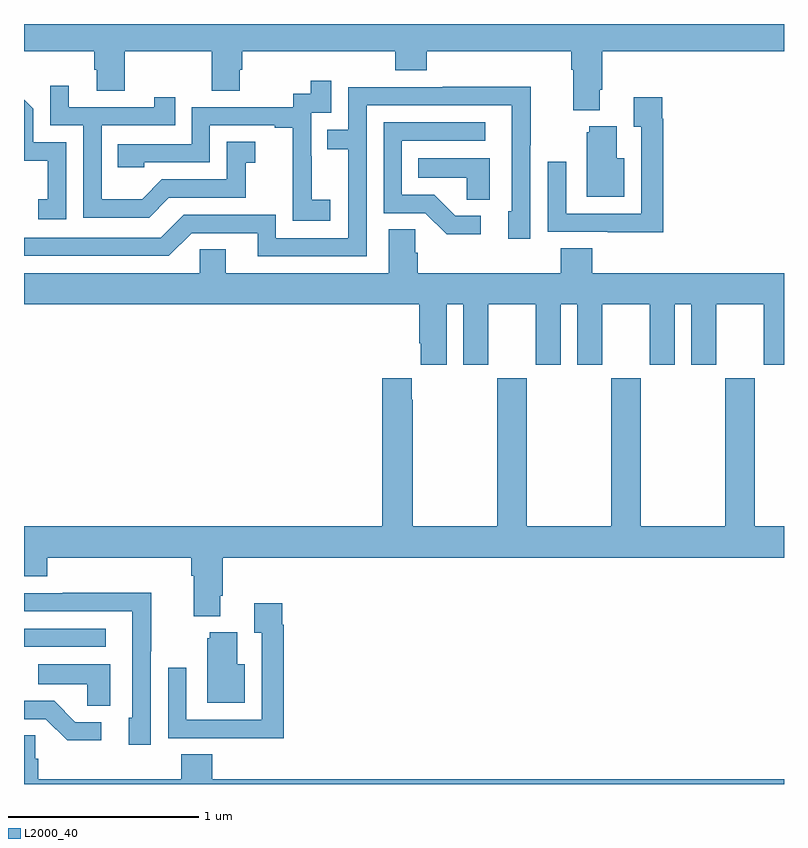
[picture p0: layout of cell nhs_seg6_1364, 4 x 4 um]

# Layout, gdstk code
import gdstk
lib = gdstk.Library(unit=1e-6, precision=1e-09)
def R(c, l, rs):  # rectangles x0, y0, x1, y1
    for r in rs: c.add(gdstk.rectangle(r[:2], r[2:], *l))
def P(c, l, *ps):  # polygons
    for p in ps: c.add(gdstk.Polygon(p, *l))
L2000_40 = (2000, 40)

nhs_seg6_1364 = lib.new_cell('nhs_seg6_1364')
R(nhs_seg6_1364, L2000_40, [(195,924.222,195.43,924.318)])
P(nhs_seg6_1364, L2000_40, [(198.031,927.154),(198.044,927.154),(198.044,927.356),(199,927.356),(199,927.5),(195,927.5),(195,927.356),(195.371,927.356),(195.371,927.258),(195.383,927.258),(195.383,927.148),(195.531,927.148),(195.531,927.356),(195.988,927.356),(195.988,927.148),(196.135,927.148),(196.135,927.258),(196.148,927.258),(196.148,927.356),(196.955,927.356),(196.955,927.257),(197.12,927.257),(197.12,927.356),(197.879,927.356),(197.879,927.26),(197.891,927.26),(197.891,927.047),(198.031,927.047)],
  [(196.612,926.575),(196.514,926.575),(196.514,926.804),(196.512,926.804),(196.512,927.033),(196.617,927.033),(196.617,927.202),(196.509,927.202),(196.509,927.132),(196.416,927.132),(196.416,927.063),(195.882,927.063),(195.882,926.868),(195.493,926.868),(195.493,926.745),(195.633,926.745),(195.633,926.772),(195.978,926.772),(195.978,926.967),(196.319,926.967),(196.319,926.955),(196.415,926.955),(196.415,926.671),(196.414,926.671),(196.414,926.465),(196.612,926.465)],
  [(195.763,926.586),(196.167,926.586),(196.167,926.771),(196.216,926.771),(196.216,926.881),(196.068,926.881),(196.068,926.682),(195.726,926.682),(195.622,926.578),(195.408,926.578),(195.408,926.967),(195.797,926.967),(195.797,927.115),(195.686,927.115),(195.686,927.063),(195.235,927.063),(195.235,927.175),(195.138,927.175),(195.138,926.967),(195.312,926.967),(195.312,926.481),(195.658,926.481)],
  [(196.803,927.072),(197.568,927.072),(197.568,926.514),(197.549,926.514),(197.549,926.37),(197.664,926.37),(197.664,926.863),(197.667,926.863),(197.667,927.17),(197.203,927.17),(197.203,927.168),(196.707,927.168),(196.707,926.943),(196.597,926.943),(196.597,926.842),(196.707,926.842),(196.707,926.373),(196.326,926.373),(196.326,926.496),(195.84,926.496),(195.72,926.376),(195,926.376),(195,926.28),(195.762,926.28),(195.882,926.4),(196.229,926.4),(196.229,926.277),(196.803,926.277)],
  [(198.365,927.002),(198.358,927.002),(198.358,927.115),(198.209,927.115),(198.209,926.959),(198.249,926.959),(198.249,926.502),(197.853,926.502),(197.853,926.776),(197.757,926.776),(197.757,926.406),(198.073,926.406),(198.073,926.405),(198.365,926.405)],
  [(195.222,926.877),(195.048,926.877),(195.048,927.054),(195,927.102),(195,926.781),(195.125,926.781),(195.125,926.577),(195.076,926.577),(195.076,926.472),(195.222,926.472)],
  [(197.404,926.49),(197.269,926.49),(197.158,926.601),(196.989,926.601),(196.989,926.886),(197.428,926.886),(197.428,926.982),(196.893,926.982),(196.893,926.505),(197.112,926.505),(197.225,926.393),(197.404,926.393)],
  [(198.16,926.794),(198.121,926.794),(198.121,926.962),(197.975,926.962),(197.975,926.931),(197.963,926.931),(197.963,926.591),(198.16,926.591)],
  [(197.452,926.794),(197.074,926.794),(197.074,926.69),(197.331,926.69),(197.331,926.575),(197.452,926.575)],
  [(197.072,926.297),(197.058,926.297),(197.058,926.42),(196.919,926.42),(196.919,926.188),(196.063,926.188),(196.063,926.315),(195.924,926.315),(195.924,926.188),(195,926.188),(195,926.024),(197.081,926.024),(197.081,925.819),(197.087,925.819),(197.087,925.707),(197.224,925.707),(197.224,926.024),(197.312,926.024),(197.312,925.707),(197.443,925.707),(197.443,926.024),(197.693,926.024),(197.693,925.707),(197.824,925.707),(197.824,926.024),(197.912,926.024),(197.912,925.707),(198.043,925.707),(198.043,926.024),(198.293,926.024),(198.293,925.707),(198.424,925.707),(198.424,926.024),(198.512,926.024),(198.512,925.707),(198.643,925.707),(198.643,926.024),(198.893,926.024),(198.893,925.707),(199,925.707),(199,926.188),(197.99,926.188),(197.99,926.321),(197.825,926.321),(197.825,926.188),(197.072,926.188)],
  [(196.033,924.49),(196.046,924.49),(196.046,924.692),(199,924.692),(199,924.856),(198.846,924.856),(198.846,925.636),(198.691,925.636),(198.691,924.856),(198.246,924.856),(198.246,925.636),(198.091,925.636),(198.091,924.856),(197.646,924.856),(197.646,925.636),(197.491,925.636),(197.491,924.856),(197.046,924.856),(197.046,925.523),(197.041,925.523),(197.041,925.636),(196.886,925.636),(196.886,924.856),(195,924.856),(195,924.593),(195.122,924.593),(195.122,924.692),(195.881,924.692),(195.881,924.596),(195.893,924.596),(195.893,924.383),(196.033,924.383)],
  [(195.666,924.199),(195.669,924.199),(195.669,924.506),(195.205,924.506),(195.205,924.504),(195,924.504),(195,924.408),(195.57,924.408),(195.57,923.85),(195.551,923.85),(195.551,923.706),(195.666,923.706)],
  [(196.367,924.338),(196.36,924.338),(196.36,924.451),(196.211,924.451),(196.211,924.295),(196.251,924.295),(196.251,923.838),(195.855,923.838),(195.855,924.112),(195.759,924.112),(195.759,923.742),(196.075,923.742),(196.075,923.741),(196.367,923.741)],
  [(196.162,924.13),(196.123,924.13),(196.123,924.298),(195.977,924.298),(195.977,924.267),(195.965,924.267),(195.965,923.927),(196.162,923.927)],
  [(195.454,924.13),(195.076,924.13),(195.076,924.026),(195.333,924.026),(195.333,923.911),(195.454,923.911)],
  [(195.406,923.826),(195.271,923.826),(195.16,923.937),(195,923.937),(195,923.841),(195.114,923.841),(195.227,923.729),(195.406,923.729)],
  [(199,923.524),(195.992,923.524),(195.992,923.657),(195.827,923.657),(195.827,923.524),(195.074,923.524),(195.074,923.633),(195.06,923.633),(195.06,923.756),(195,923.756),(195,923.5),(199,923.5)])

lib.write_gds('nhs_seg6_1364.gds')
